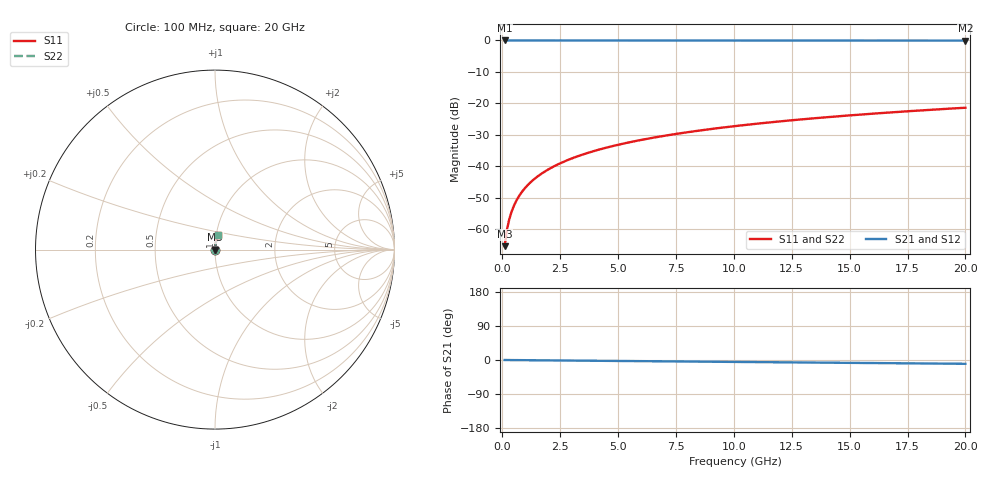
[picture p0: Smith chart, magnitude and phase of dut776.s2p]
! Touchstone file exported from HFSS 2026.1.0
!  File:  C:/ffzhzh/LocalFiles/Ansys_Project_Files/temp_train_TSV_776_1783183555_18472.aedt
!  Generated:  12:47:36 AM Jul  5, 2026
!  Design:  TSV
!  Project:  temp_train_TSV_776_1783183555_18472
! Variables:
!  h_bsmrdl = 2um
!  h_ox = 20um
!  h_rdl = 5um
!  h_sub = 82.68um
!  h_tmrdl = 5um
!  h_tsv = 82.68um
!  h_via = 3um
!  l_bsmrdl = 300um
!  l_sub = 412.9um
!  l_tmrdl = 200um
!  m_sub = 200um
!  pitch = 56.24um
!  r_tsv = 6.45um
!  s_tmrdl = 10um
!  w_bsmrdl = 18um
!  w_sub = 500um
!  w_tmrdl = 12um
!  x_tsv_center1 = 206um
!  x_tsv_center2 = 524um
!  x_tsv_center3 = 736um
!  x_tsv_center4 = 1054um
!  x_tsv_center5 = 1266um
!  x_tsv_center6 = 1584um
# GHz S MA R 50.000000
! Terminal data exported
! Port[1] = TSV1_1_T1
! Port[2] = TSV1_1_T2
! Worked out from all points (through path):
!   200 points, 100 MHz to 20 GHz, reference 50 ohm
!   highest |S21| = 0.00 dB at 100 MHz (marker M1); lowest = 0.0 dB at 20 GHz (marker M2)
!   group delay of S21, straight-line fit = 1.39 ps
!   lowest |S11| = -65.4 dB at 100 MHz (marker M3), VSWR 1.00, Z = 50 + j0.0473 ohm
!   |S11| at or under -10 dB: start of sweep to end of sweep
!   |S22| runs from -65.4 to -21.4 dB; largest |S21 - S12| = 3.7e-15
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0.1  0.0005396 61.1  0.9997 -0.1  0.9997 -0.1  0.0005396 61.1
! Gamma 0 0 0 0
! Port Impedance 50 0 50 0
0.2  0.0009816 74.0  0.9997 -0.1  0.9997 -0.1  0.0009816 74.0
0.3  0.00144 78.5  0.9997 -0.2  0.9997 -0.2  0.00144 78.5
0.4  0.001901 80.7  0.9997 -0.2  0.9997 -0.2  0.001901 80.7
0.5  0.002359 82.0  0.9997 -0.3  0.9997 -0.3  0.002359 82.0
0.6  0.002815 82.7  0.9997 -0.3  0.9997 -0.3  0.002815 82.7
0.7  0.003267 83.3  0.9996 -0.4  0.9996 -0.4  0.003267 83.3
0.8  0.003716 83.7  0.9996 -0.4  0.9996 -0.4  0.003716 83.7
1  0.004606 84.2  0.9996 -0.5  0.9996 -0.5  0.004606 84.2
1.4  0.00637 84.9  0.9995 -0.7  0.9995 -0.7  0.00637 84.9
1.7  0.007684 85.1  0.9994 -0.9  0.9994 -0.9  0.007684 85.1
2  0.008996 85.3  0.9994 -1.0  0.9994 -1.0  0.008996 85.3
2.7  0.01205 85.5  0.9993 -1.4  0.9993 -1.4  0.01205 85.5
3.5  0.01553 85.5  0.9991 -1.8  0.9991 -1.8  0.01553 85.5
4.2  0.01856 85.4  0.999 -2.1  0.999 -2.1  0.01856 85.4
5  0.02201 85.2  0.9989 -2.5  0.9989 -2.5  0.02201 85.2
6.8  0.02973 84.6  0.9985 -3.4  0.9985 -3.4  0.02973 84.6
8.3  0.03614 84.0  0.9982 -4.2  0.9982 -4.2  0.03614 84.0
10.1  0.0438 83.3  0.9978 -5.1  0.9978 -5.1  0.0438 83.3
13.4  0.05777 81.8  0.9969 -6.7  0.9969 -6.7  0.05777 81.8
16.7  0.07163 80.3  0.9958 -8.4  0.9958 -8.4  0.07163 80.3
20  0.08535 78.8  0.9946 -10.0  0.9946 -10.0  0.08535 78.8
